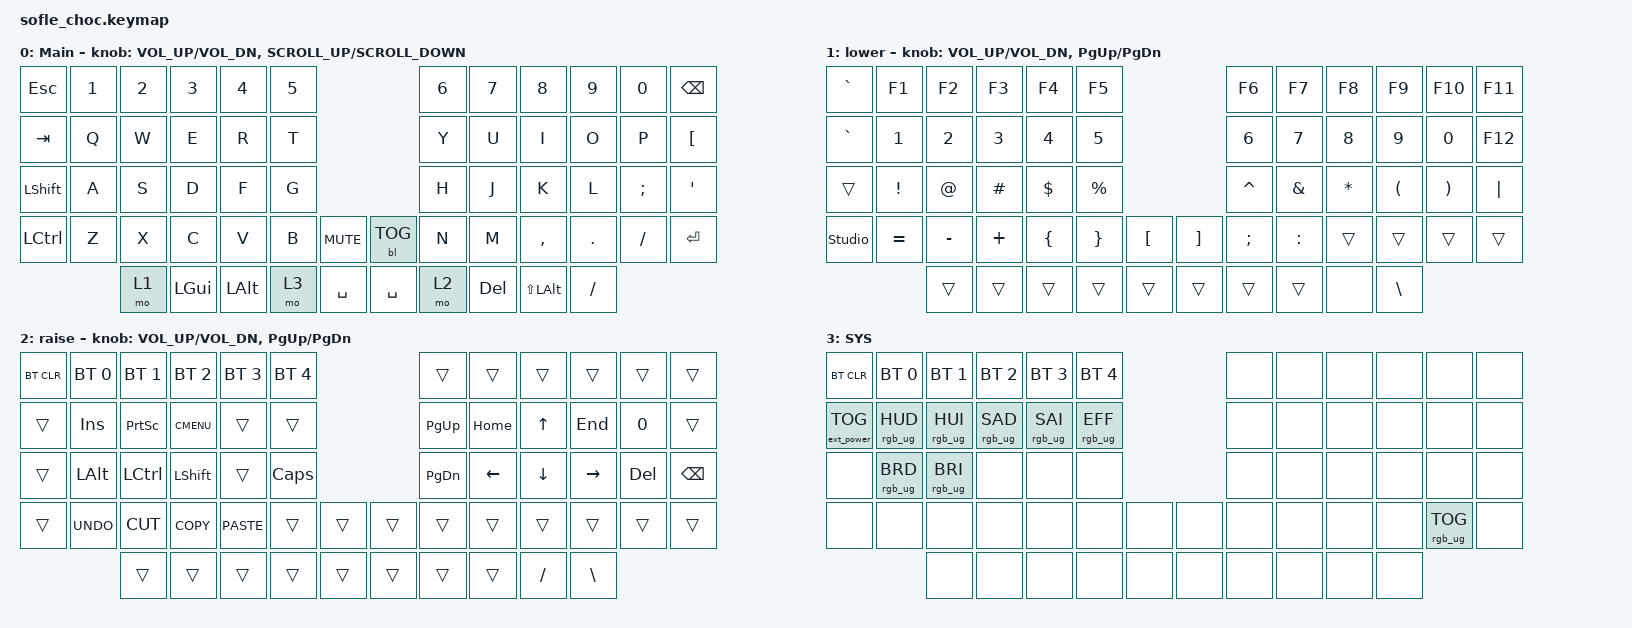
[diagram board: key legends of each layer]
/*
 * Copyright (c) 2020 The ZMK Contributors
 *
 * SPDX-License-Identifier: MIT
 */

#define ZMK_POINTING_DEFAULT_SCRL_VAL 300

#include <behaviors.dtsi>
#include <dt-bindings/zmk/backlight.h>
#include <dt-bindings/zmk/bt.h>
#include <dt-bindings/zmk/ext_power.h>
#include <dt-bindings/zmk/keys.h>
#include <dt-bindings/zmk/pointing.h>
#include <dt-bindings/zmk/rgb.h>

#define BASE 0
#define LOWER 1
#define RAISE 2
#define ADJUST 3

/ {
    // Activate ADJUST layer by pressing raise and lower

    conditional_layers { compatible = "zmk,conditional-layers"; };

    behaviors {
        mousescroll: mousescroll {
            compatible = "zmk,behavior-sensor-rotate";
            #sensor-binding-cells = <0>;
            bindings = <&msc SCRL_UP>, <&msc SCRL_DOWN>;

            tap-ms = <20>;
        };
    };

    keymap {
        compatible = "zmk,keymap";

        MAIN {
            label = "Main";

            // ------------------------------------------------------------------------------------------------------------
            // |   `   |  1  |  2  |  3   |  4   |  5   |                   |  6   |  7    |  8    |  9   |   0   |       |
            // |  ESC  |  Q  |  W  |  E   |  R   |  T   |                   |  Y   |  U    |  I    |  O   |   P   | BKSPC |
            // |  TAB  |  A  |  S  |  D   |  F   |  G   |                   |  H   |  J    |  K    |  L   |   ;   |   '   |
            // | SHIFT |  Z  |  X  |  C   |  V   |  B   |  MUTE  |  |       |  N   |  M    |  ,    |  .   |   /   | SHIFT |
            //               | GUI | ALT  | CTRL | LOWER|  ENTER |  | SPACE | RAISE| CTRL  | ALT   | GUI  |

            bindings = <
&kp ESCAPE        &kp N1  &kp N2  &kp N3        &kp N4    &kp N5                            &kp N6  &kp N7   &kp N8            &kp N9    &kp N0    &kp BSPC
&kp TAB           &kp Q   &kp W   &kp E         &kp R     &kp T                             &kp Y   &kp U    &kp I             &kp O     &kp P     &kp LEFT_BRACKET
&kp LEFT_SHIFT    &kp A   &kp S   &kp D         &kp F     &kp G                             &kp H   &kp J    &kp K             &kp L     &kp SEMI  &kp SQT
&kp LEFT_CONTROL  &kp Z   &kp X   &kp C         &kp V     &kp B   &kp K_MUTE    &bl BL_TOG  &kp N   &kp M    &kp COMMA         &kp DOT   &kp FSLH  &kp RET
                          &mo 1   &kp LEFT_GUI  &kp LALT  &mo 3   &kp SPACE     &kp SPACE   &mo 2   &kp DEL  &kp LS(LEFT_ALT)  &kp FSLH
            >;

            sensor-bindings =
                <&inc_dec_kp C_VOLUME_UP C_VOL_DN>,
                <&inc_dec_kp K_SCROLL_UP K_SCROLL_DOWN>;
        };

        lower_layer {
            label = "lower";

            // TODO: Some binds are waiting for shifted keycode support.
            // ------------------------------------------------------------------------------------------------------------
            // |       |  F1 |  F2 |  F3  |  F4  |  F5  |                   |  F6  |  F7   |  F8   |  F9  |  F10  |  F11  |
            // |   `   |  1  |  2  |  3   |  4   |  5   |                   |  6   |  7    |  8    |  9   |   0   |  F12  |
            // |       |  !  |  @  |  #   |  $   |  %   |                   |  ^   |  &    |  *    |  (   |   )   |   |   |
            // |       |  =  |  -  |  +   |  {   |  }   |        |  |       |  [   |  ]    |  ;    |  :   |   \   |       |
            //               |     |      |      |      |        |  |       |      |       |       |      |

            bindings = <
&kp GRAVE       &kp F1     &kp F2     &kp F3    &kp F4    &kp F5                           &kp F6     &kp F7     &kp F8     &kp F9         &kp F10   &kp F11
&kp GRAVE       &kp N1     &kp N2     &kp N3    &kp N4    &kp N5                           &kp N6     &kp N7     &kp N8     &kp N9         &kp N0    &kp F12
&trans          &kp EXCL   &kp AT     &kp HASH  &kp DLLR  &kp PRCNT                        &kp CARET  &kp AMPS   &kp ASTRK  &kp LPAR       &kp RPAR  &kp PIPE
&studio_unlock  &kp EQUAL  &kp MINUS  &kp PLUS  &kp LBRC  &kp RBRC   &kp LBKT    &kp RBKT  &kp SEMI   &kp COLON  &trans     &trans         &trans    &trans
                           &trans     &trans    &trans    &trans     &trans      &trans    &trans     &trans     &none      &kp BACKSLASH
            >;

            sensor-bindings = <&inc_dec_kp C_VOL_UP C_VOL_DN &inc_dec_kp PG_UP PG_DN>;
        };

        raise_layer {
            label = "raise";

            // ------------------------------------------------------------------------------------------------------------
            // | BTCLR | BT1  | BT2  |  BT3  |  BT4  |  BT5 |                |      |      |       |      |       |       |
            // |       | INS  | PSCR | GUI   |       |      |                | PGUP |      |   ^   |      |       |       |
            // |       | ALT  | CTRL | SHIFT |       | CAPS |                | PGDN |   <- |   v   |  ->  |  DEL  | BKSPC |
            // |       | UNDO | CUT  | COPY  | PASTE |      |      |  |      |      |      |       |      |       |       |
            //                |      |       |       |      |      |  |      |      |      |       |      |

            bindings = <
&bt BT_CLR  &bt BT_SEL 0  &bt BT_SEL 1  &bt BT_SEL 2  &bt BT_SEL 3  &bt BT_SEL 4                    &trans     &trans    &trans     &trans         &trans   &trans
&trans      &kp INS       &kp PSCRN     &kp K_CMENU   &trans        &trans                          &kp PG_UP  &kp HOME  &kp UP     &kp END        &kp N0   &trans
&trans      &kp LALT      &kp LCTRL     &kp LSHFT     &trans        &kp CLCK                        &kp PG_DN  &kp LEFT  &kp DOWN   &kp RIGHT      &kp DEL  &kp BSPC
&trans      &kp K_UNDO    &kp K_CUT     &kp K_COPY    &kp K_PASTE   &trans        &trans    &trans  &trans     &trans    &trans     &trans         &trans   &trans
                          &trans        &trans        &trans        &trans        &trans    &trans  &trans     &trans    &kp SLASH  &kp BACKSLASH
            >;

            sensor-bindings = <&inc_dec_kp C_VOL_UP C_VOL_DN &inc_dec_kp PG_UP PG_DN>;
        };

        system_layer {
            // ----------------------------------------------------------------------------------------------------------------------------
            // | BTCLR  |  BT1    |  BT2    |   BT3   |   BT4   |   BT5   |                  |      |      |       |      |       |       |
            // | EXTPWR | RGB_HUD | RGB_HUI | RGB_SAD | RGB_SAI | RGB_EFF |                  |      |      |       |      |       |       |
            // |        | RGB_BRD | RGB_BRI |         |         |         |                  |      |      |       |      |       |       |
            // |        |         |         |         |         |         | RGB_TOG | |      |      |      |       |      |       |       |
            //                    |         |         |         |         |         | |      |      |      |       |      |

            label = "SYS";
            bindings = <
&bt BT_CLR         &bt BT_SEL 0     &bt BT_SEL 1     &bt BT_SEL 2     &bt BT_SEL 3     &bt BT_SEL 4                     &none  &none  &none  &none  &none            &none
&ext_power EP_TOG  &rgb_ug RGB_HUD  &rgb_ug RGB_HUI  &rgb_ug RGB_SAD  &rgb_ug RGB_SAI  &rgb_ug RGB_EFF                  &none  &none  &none  &none  &none            &none
&none              &rgb_ug RGB_BRD  &rgb_ug RGB_BRI  &none            &none            &none                            &none  &none  &none  &none  &none            &none
&none              &none            &none            &none            &none            &none            &none    &none  &none  &none  &none  &none  &rgb_ug RGB_TOG  &none
                                    &none            &none            &none            &none            &none    &none  &none  &none  &none  &none
            >;
        };
    };
};
